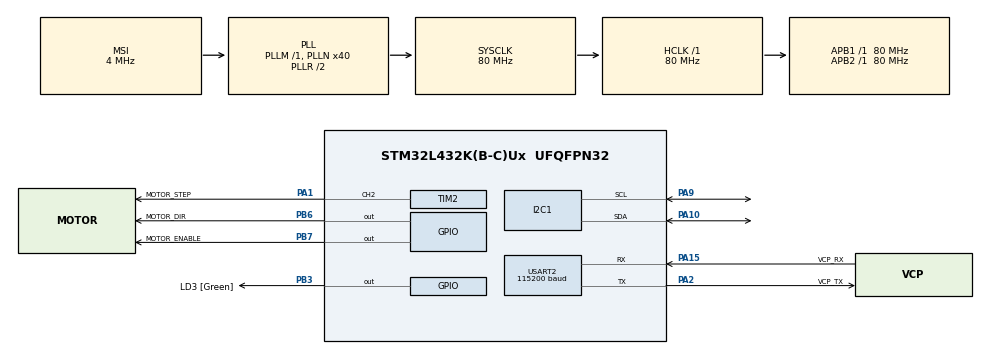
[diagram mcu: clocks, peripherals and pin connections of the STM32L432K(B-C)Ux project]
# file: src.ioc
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Dma.I2C1_RX.0.Direction=DMA_PERIPH_TO_MEMORY
Dma.I2C1_RX.0.Instance=DMA2_Channel6
Dma.I2C1_RX.0.MemDataAlignment=DMA_MDATAALIGN_BYTE
Dma.I2C1_RX.0.MemInc=DMA_MINC_ENABLE
Dma.I2C1_RX.0.Mode=DMA_NORMAL
Dma.I2C1_RX.0.PeriphDataAlignment=DMA_PDATAALIGN_BYTE
Dma.I2C1_RX.0.PeriphInc=DMA_PINC_DISABLE
Dma.I2C1_RX.0.Priority=DMA_PRIORITY_LOW
Dma.I2C1_TX.1.Direction=DMA_MEMORY_TO_PERIPH
Dma.I2C1_TX.1.Instance=DMA2_Channel7
Dma.I2C1_TX.1.MemDataAlignment=DMA_MDATAALIGN_BYTE
Dma.I2C1_TX.1.MemInc=DMA_MINC_ENABLE
Dma.I2C1_TX.1.Mode=DMA_NORMAL
Dma.I2C1_TX.1.PeriphDataAlignment=DMA_PDATAALIGN_BYTE
Dma.I2C1_TX.1.PeriphInc=DMA_PINC_DISABLE
Dma.I2C1_TX.1.Priority=DMA_PRIORITY_LOW
Dma.Request0=I2C1_RX
Dma.Request1=I2C1_TX
Dma.Request2=USART2_RX
Dma.Request3=USART2_TX
Dma.USART2_RX.2.Direction=DMA_PERIPH_TO_MEMORY
Dma.USART2_RX.2.Instance=DMA1_Channel6
Dma.USART2_RX.2.MemDataAlignment=DMA_MDATAALIGN_BYTE
Dma.USART2_RX.2.MemInc=DMA_MINC_ENABLE
Dma.USART2_RX.2.Mode=DMA_NORMAL
Dma.USART2_RX.2.PeriphDataAlignment=DMA_PDATAALIGN_BYTE
Dma.USART2_RX.2.PeriphInc=DMA_PINC_DISABLE
Dma.USART2_RX.2.Priority=DMA_PRIORITY_LOW
Dma.USART2_TX.3.Direction=DMA_MEMORY_TO_PERIPH
Dma.USART2_TX.3.Instance=DMA1_Channel7
Dma.USART2_TX.3.MemDataAlignment=DMA_MDATAALIGN_BYTE
Dma.USART2_TX.3.MemInc=DMA_MINC_ENABLE
Dma.USART2_TX.3.Mode=DMA_NORMAL
Dma.USART2_TX.3.PeriphDataAlignment=DMA_PDATAALIGN_BYTE
Dma.USART2_TX.3.PeriphInc=DMA_PINC_DISABLE
Dma.USART2_TX.3.Priority=DMA_PRIORITY_LOW
I2C1.Timing=0x10D19CE4
Mcu.Family=STM32L4
Mcu.Name=STM32L432K(B-C)Ux
Mcu.Package=UFQFPN32
NVIC.DMA1_Channel6_IRQn=true\:2\:0\:true\:false\:true\:false\:true\:true
NVIC.DMA1_Channel7_IRQn=true\:3\:0\:true\:false\:true\:false\:true\:true
NVIC.DMA2_Channel6_IRQn=true\:4\:0\:true\:false\:true\:false\:true\:true
NVIC.DMA2_Channel7_IRQn=true\:5\:0\:true\:false\:true\:false\:true\:true
NVIC.I2C1_EV_IRQn=true\:6\:0\:true\:false\:true\:true\:true\:true
NVIC.PriorityGroup=NVIC_PRIORITYGROUP_4
NVIC.USART2_IRQn=true\:1\:0\:true\:false\:true\:true\:true\:true
PA0.GPIO_Label=MCO [High speed clock in]
PA0.Mode=HSE-External-Clock-Source-for-LittleOrca
PA0.Signal=RCC_CK_IN
PA1.GPIO_Label=MOTOR_STEP
PA1.Signal=S_TIM2_CH2
PA10.Mode=I2C
PA10.Signal=I2C1_SDA
PA13\ (JTMS-SWDIO).GPIO_Label=SWDIO
PA13\ (JTMS-SWDIO).Mode=Serial_Wire
PA13\ (JTMS-SWDIO).Signal=SYS_JTMS-SWDIO
PA14\ (JTCK-SWCLK).GPIO_Label=SWCLK
PA14\ (JTCK-SWCLK).Mode=Serial_Wire
PA14\ (JTCK-SWCLK).Signal=SYS_JTCK-SWCLK
PA15\ (JTDI).GPIO_Label=VCP_RX
PA15\ (JTDI).Mode=Asynchronous
PA15\ (JTDI).Signal=USART2_RX
PA2.GPIO_Label=VCP_TX
PA2.Mode=Asynchronous
PA2.Signal=USART2_TX
PA9.Mode=I2C
PA9.Signal=I2C1_SCL
PB3\ (JTDO-TRACESWO).GPIO_Label=LD3 [Green]
PB3\ (JTDO-TRACESWO).Signal=GPIO_Output
PB6.GPIO_Label=MOTOR_DIR
PB6.Signal=GPIO_Output
PB7.GPIO_Label=MOTOR_ENABLE
PB7.Signal=GPIO_Output
PC14-OSC32_IN\ (PC14).Mode=LSE-External-Oscillator
PC14-OSC32_IN\ (PC14).Signal=RCC_OSC32_IN
PC15-OSC32_OUT\ (PC15).Mode=LSE-External-Oscillator
PC15-OSC32_OUT\ (PC15).Signal=RCC_OSC32_OUT
ProjectManager.HeapSize=0x200
ProjectManager.StackSize=0x400
ProjectManager.TargetToolchain=STM32CubeIDE
RCC.AHBFreq_Value=80000000
RCC.APB1Freq_Value=80000000
RCC.APB1TimFreq_Value=80000000
RCC.APB2Freq_Value=80000000
RCC.APB2TimFreq_Value=80000000
RCC.CortexFreq_Value=80000000
RCC.HCLKFreq_Value=80000000
RCC.HSE_VALUE=8000000
RCC.HSI16_VALUE=16000000
RCC.HSI48_VALUE=48000000
RCC.HSI_VALUE=16000000
RCC.MSI_VALUE=4000000
RCC.PLLMUL=RCC_PLLMUL_4
RCC.PLLN=40
RCC.SYSCLKFreq_VALUE=80000000
RCC.SYSCLKSource=RCC_SYSCLKSOURCE_PLLCLK
RCC.VCOOutputFreq_Value=160000000
SH.S_TIM2_CH2.0=TIM2_CH2,PWM Generation2 CH2
TIM2.Channel-PWM\ Generation2\ CH2=TIM_CHANNEL_2
TIM2.Period=50-1
TIM2.Prescaler=500-1
TIM2.Pulse-PWM\ Generation2\ CH2=25-1
USART2.BaudRate=115200
USART2.VirtualMode-Asynchronous=VM_ASYNC
board=NUCLEO-L432KC

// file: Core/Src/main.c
/* USER CODE BEGIN Header */
/**
  ******************************************************************************
  * @file           : main.c
  * @brief          : Main program body
  ******************************************************************************
  * @attention
  *
  * Copyright (c) 2025 STMicroelectronics.
  * All rights reserved.
  *
  * This software is licensed under terms that can be found in the LICENSE file
  * in the root directory of this software component.
  * If no LICENSE file comes with this software, it is provided AS-IS.
  *
  ******************************************************************************
  */
/* USER CODE END Header */
#include "main.h"
#include "dma.h"
#include "i2c.h"
#include "tim.h"
#include "usart.h"
#include "gpio.h"

/* USER CODE BEGIN Includes */

#include <json.h>
#include "stdio.h"
#include "stepper_motor.h"
#include "stdbool.h"
#include "string.h"
#include "ee.h"
/* USER CODE END Includes */

/* USER CODE BEGIN PD */
#define AS5600_BUF_SIZE 3
/* USER CODE END PD */

/* USER CODE BEGIN PV */

  /*enkoder*/
  uint8_t as5600_buf[3];
  uint8_t ENCODER_buf[3];
  HAL_StatusTypeDef ENCODER_i2c_status;
  uint16_t ENCODER_data;
  double ENCODER_current_angle = 0.0;
  uint16_t ENCODER_recal_data;
  uint16_t ENCODER_offset = 0;

bool addr_to_send = false;
bool addr_to_set = false;
int received_addr = false;

  bool ENCODER_init = true;
  bool i2c_data_to_calc = false;
  bool eeprom_data_to_read = true;
bool reset_enable = false;
bool set_enable = false;

  /*JSON*/
  bool uart2_data_received = false;
  bool uart2_tx_busy = false;
  bool data_to_send = false;

  typedef struct {
    uint16_t EE_offset;
  uint16_t addr;
  } eeStorage_t;

  eeStorage_t ee;
/* USER CODE END PV */

void SystemClock_Config(void);

/* USER CODE BEGIN 0 */

// printf
int __io_putchar(int ch) {
  if (ch == '\n') {
    __io_putchar('\r');
  }
  HAL_UART_Transmit(&huart2, (uint8_t*)&ch, 1, HAL_MAX_DELAY);
  return 0;
}
/* USER CODE END 0 */

int main(void)
{

  /* MCU Configuration--------------------------------------------------------*/

  /* Reset of all peripherals, Initializes the Flash interface and the Systick. */
  HAL_Init();

  /* Configure the system clock */
  SystemClock_Config();

  /* Initialize all configured peripherals */
  MX_GPIO_Init();
  MX_DMA_Init();
  MX_USART2_UART_Init();
  MX_I2C1_Init();
  MX_TIM2_Init();

  /* Infinite loop */
  /* USER CODE BEGIN WHILE */

  /*JSON*/
  lwjson_my_init();
  HAL_UARTEx_ReceiveToIdle_IT(&huart2, (uint8_t*)rx_buffer, sizeof(rx_buffer));

  /*ENKODER*/
  HAL_I2C_Mem_Read_DMA(&hi2c1, 0x36 << 1, 0x0B, 1, as5600_buf, 3);

  EE_Init(&ee, sizeof(eeStorage_t));

  HAL_GPIO_WritePin(MOTOR_ENABLE_GPIO_Port, MOTOR_ENABLE_Pin, GPIO_PIN_SET);
  while (1)
  {
    if ((as5600_buf[0] & (1<<5)) == 0) {
      HAL_GPIO_WritePin(LD3_GPIO_Port, LD3_Pin, GPIO_PIN_SET);
      HAL_TIM_PWM_Stop(&htim2, TIM_CHANNEL_2);
    }
    else {
      HAL_GPIO_WritePin(LD3_GPIO_Port, LD3_Pin, GPIO_PIN_RESET);
    }

    if (data_to_send) {
      char buf_to_send[50];
      sprintf(buf_to_send, "angle: %.2f", MOTOR_current_angle);
      if (!uart2_tx_busy) {
          HAL_UART_Transmit_DMA(&huart2, (uint8_t*)buf_to_send, strlen(buf_to_send));
          uart2_tx_busy = true;
      }
      data_to_send = false;
    }

    // otrzymano pozycję która wychodzi po za margines błędu obecnej -> zmiana położenia
    if (MOTOR_current_status == MOTOR_ANGLE_RECEIVED && accept_margin(MOTOR_current_angle, MOTOR_target_angle, MOTOR_PROPER_ANGLE_MARGIN) != 1) {
      MOTOR_state_machine(MOTOR_current_angle, MOTOR_target_angle, MOTOR_ANGLE_RECEIVED);

      // char buf_to_send[50];
      // sprintf(buf_to_send, "angle: %d", MOTOR_target_angle);
      // if (!uart2_tx_busy) {
      //     HAL_UART_Transmit_DMA(&huart2, (uint8_t*)buf_to_send, strlen(buf_to_send));
      //     uart2_tx_busy = true;
      // }
    }

    // otrzymano pozycje i obecna miesci sie w zakresie otrzymanej -> nie zmieniamy położenia
    else if (MOTOR_current_status == MOTOR_ANGLE_RECEIVED && accept_margin(MOTOR_current_angle, MOTOR_target_angle, MOTOR_PROPER_ANGLE_MARGIN)) {
      MOTOR_state_machine(MOTOR_current_angle, MOTOR_target_angle, MOTOR_ANGLE_RECEIVED);
    }

    // silnik w trakcie ustawiania na pozycje
    else if (MOTOR_current_status == MOTOR_IN_MOTION) {
      MOTOR_state_machine(MOTOR_current_angle, MOTOR_target_angle, MOTOR_IN_MOTION);
    }

    // silnik na pozycji
    else if (MOTOR_current_status == MOTOR_AT_POSITION) {
      MOTOR_state_machine(MOTOR_current_angle, MOTOR_target_angle, MOTOR_AT_POSITION);
    }

    // silnik na pozycji i w obrębie marginesu
    else if (MOTOR_current_status == MOTOR_OUT) {
      MOTOR_state_machine(MOTOR_current_angle, MOTOR_target_angle, MOTOR_OUT);
    }

    // setAdr
    if (addr_to_set)
    {
      ee.addr = received_addr;
      EE_Write();
      addr_to_set = false;
    }

    // getAdr
    if (addr_to_send)
    {
      EE_Read();
      char buf_to_send[50];
      sprintf(buf_to_send, "{\"addr\": %d}", ee.addr);
      if (!uart2_tx_busy)
      {
        HAL_UART_Transmit_DMA(&huart2, (uint8_t *)buf_to_send, strlen(buf_to_send));
        uart2_tx_busy = true;
      }
      addr_to_send = false;
    }

    if (set_enable)
    {
      set_enable = false;
      HAL_GPIO_WritePin(MOTOR_ENABLE_GPIO_Port, MOTOR_ENABLE_Pin, GPIO_PIN_RESET);
      HAL_GPIO_WritePin(LD3_GPIO_Port, LD3_Pin, GPIO_PIN_SET);
    }

    if (reset_enable)
    {
      reset_enable = false;
      HAL_GPIO_WritePin(MOTOR_ENABLE_GPIO_Port, MOTOR_ENABLE_Pin, GPIO_PIN_SET);
      HAL_GPIO_WritePin(LD3_GPIO_Port, LD3_Pin, GPIO_PIN_RESET);
    }

    /* USER CODE END WHILE */

  }
}

void SystemClock_Config(void)
{
  RCC_OscInitTypeDef RCC_OscInitStruct = {0};
  RCC_ClkInitTypeDef RCC_ClkInitStruct = {0};

  /** Configure the main internal regulator output voltage
  */
  if (HAL_PWREx_ControlVoltageScaling(PWR_REGULATOR_VOLTAGE_SCALE1) != HAL_OK)
  {
    Error_Handler();
  }

  /** Configure LSE Drive Capability
  */
  HAL_PWR_EnableBkUpAccess();
  __HAL_RCC_LSEDRIVE_CONFIG(RCC_LSEDRIVE_LOW);

  /** Initializes the RCC Oscillators according to the specified parameters
  * in the RCC_OscInitTypeDef structure.
  */
  RCC_OscInitStruct.OscillatorType = RCC_OSCILLATORTYPE_LSE|RCC_OSCILLATORTYPE_MSI;
  RCC_OscInitStruct.LSEState = RCC_LSE_ON;
  RCC_OscInitStruct.MSIState = RCC_MSI_ON;
  RCC_OscInitStruct.MSICalibrationValue = 0;
  RCC_OscInitStruct.MSIClockRange = RCC_MSIRANGE_6;
  RCC_OscInitStruct.PLL.PLLState = RCC_PLL_ON;
  RCC_OscInitStruct.PLL.PLLSource = RCC_PLLSOURCE_MSI;
  RCC_OscInitStruct.PLL.PLLM = 1;
  RCC_OscInitStruct.PLL.PLLN = 40;
  RCC_OscInitStruct.PLL.PLLP = RCC_PLLP_DIV7;
  RCC_OscInitStruct.PLL.PLLQ = RCC_PLLQ_DIV2;
  RCC_OscInitStruct.PLL.PLLR = RCC_PLLR_DIV2;
  if (HAL_RCC_OscConfig(&RCC_OscInitStruct) != HAL_OK)
  {
    Error_Handler();
  }

  /** Initializes the CPU, AHB and APB buses clocks
  */
  RCC_ClkInitStruct.ClockType = RCC_CLOCKTYPE_HCLK|RCC_CLOCKTYPE_SYSCLK
                              |RCC_CLOCKTYPE_PCLK1|RCC_CLOCKTYPE_PCLK2;
  RCC_ClkInitStruct.SYSCLKSource = RCC_SYSCLKSOURCE_PLLCLK;
  RCC_ClkInitStruct.AHBCLKDivider = RCC_SYSCLK_DIV1;
  RCC_ClkInitStruct.APB1CLKDivider = RCC_HCLK_DIV1;
  RCC_ClkInitStruct.APB2CLKDivider = RCC_HCLK_DIV1;

  if (HAL_RCC_ClockConfig(&RCC_ClkInitStruct, FLASH_LATENCY_4) != HAL_OK)
  {
    Error_Handler();
  }

  /** Enable MSI Auto calibration
  */
  HAL_RCCEx_EnableMSIPLLMode();
}

/* USER CODE BEGIN 4 */

/*ODBIERANIE DANYCH W PRZERWANIU*/
void HAL_UARTEx_RxEventCallback(UART_HandleTypeDef *huart, uint16_t Size) {
  /*JSON*/
  if (huart == &huart2) {
      rx_buffer[Size] = '\0';
      uart2_data_received = true;

      if (uart2_data_received) {
        json_process(rx_buffer);
        uart2_data_received = false;
      }
    HAL_UARTEx_ReceiveToIdle_DMA(&huart2, (uint8_t*)rx_buffer, sizeof(rx_buffer));
  }
}

void HAL_UART_TxCpltCallback(UART_HandleTypeDef *huart) {
  if (huart == &huart2) {
    uart2_tx_busy = false;
  }
}

// wersja z zapisem do eeprom
void HAL_I2C_MemRxCpltCallback(I2C_HandleTypeDef *hi2c) {
  if (hi2c == &hi2c1) {
    // obliczenie kąta
    ENCODER_data = ((as5600_buf[1] << 8) | as5600_buf[2]); // poskładanie danych z enkodera
    if (ENCODER_init == false) {
      ENCODER_offset = ENCODER_data; // zapisanie offsetu
      ee.EE_offset = ENCODER_offset;
      EE_Write();
      ENCODER_init = true;
      eeprom_data_to_read = false;
      MOTOR_target_angle = 0;
    }
    else {
      if (eeprom_data_to_read) {
        EE_Read();
        ENCODER_offset = ee.EE_offset;
        eeprom_data_to_read = false;
      }
      else {
        ENCODER_recal_data = (ENCODER_data - ENCODER_offset + 4095) % 4095;
        ENCODER_current_angle = (double)ENCODER_recal_data * 0.08789;
        MOTOR_current_angle = ENCODER_current_angle;
      }
    }

    // sprawdzenie statusu I2C
    if (HAL_I2C_GetState(&hi2c1) == HAL_I2C_STATE_READY) {
      HAL_I2C_Mem_Read_DMA(&hi2c1, 0x36 << 1, 0x0B, 1, as5600_buf, 3);
    }
  }
}

// wersja bez zapisy do eeprom
// void HAL_I2C_MemRxCpltCallback(I2C_HandleTypeDef *hi2c) {
//   if (hi2c == &hi2c1) {
//     // obliczenie kąta
//     ENCODER_data = ((as5600_buf[1] << 8) | as5600_buf[2]); // poskładanie danych z enkodera
//     if (ENCODER_init == false) {
//       ENCODER_offset = ENCODER_data; // zapisanie offsetu
//       ENCODER_init = true;
//     } else {
//       ENCODER_recal_data = (ENCODER_data - ENCODER_offset + 4095) % 4095;
//       ENCODER_current_angle = (double)ENCODER_recal_data * 0.08789;
//       MOTOR_current_angle = ENCODER_current_angle;
//     }

//     // sprawdzenie statusu I2C
//     if (HAL_I2C_GetState(&hi2c1) == HAL_I2C_STATE_READY) {
//       HAL_I2C_Mem_Read_DMA(&hi2c1, 0x36 << 1, 0x0B, 1, as5600_buf, 3);
//     }
//   }
// }

/* USER CODE END 4 */

void Error_Handler(void)
{
  __disable_irq();
  while (1)
  {
  }
}
